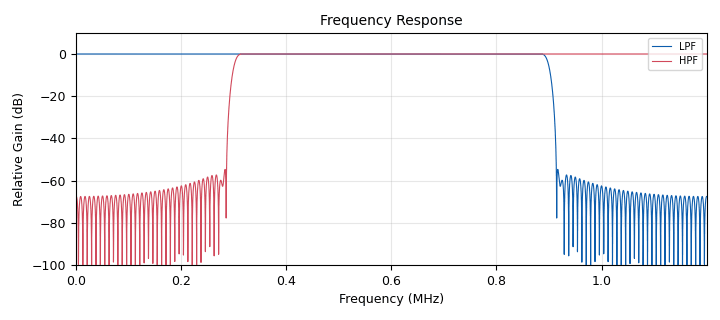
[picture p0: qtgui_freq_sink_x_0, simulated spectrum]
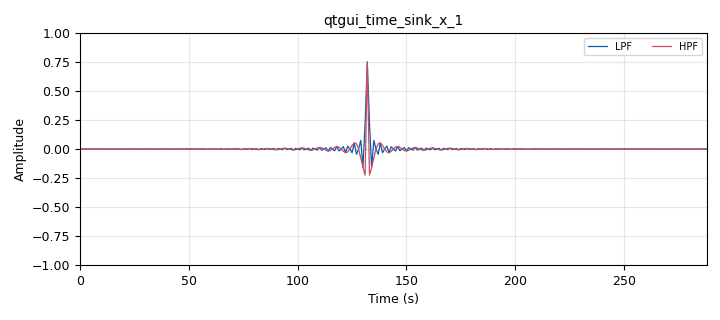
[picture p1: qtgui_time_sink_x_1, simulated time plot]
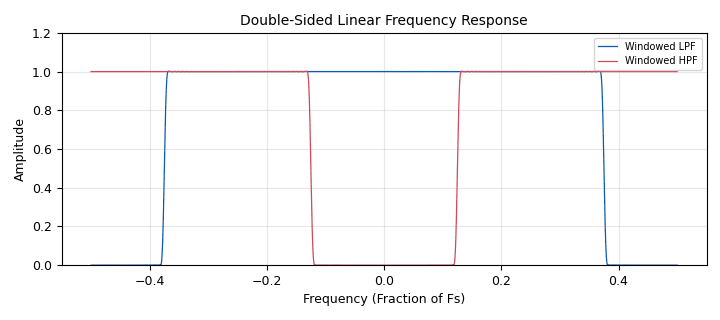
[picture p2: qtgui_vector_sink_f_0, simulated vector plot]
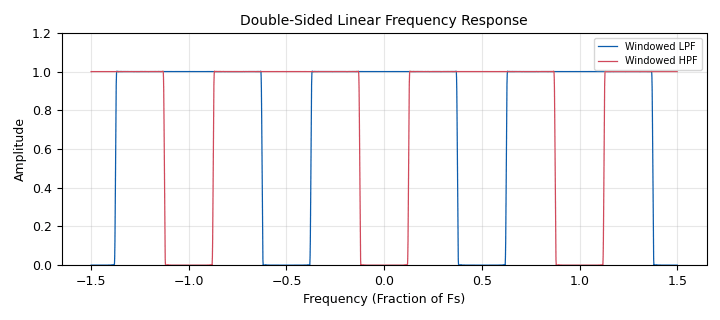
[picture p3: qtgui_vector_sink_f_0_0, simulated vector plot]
options:
  parameters:
    author: Gary Schafer
    generate_options: qt_gui
    id: filter_impulse_response_highpass2
    output_language: python
    title: Highpass using Spectrum Reversal
  states: {}

blocks:
- name: M
  id: variable
  parameters:
    comment: |-
      Used to create symmetric
      counter around 0.
      ----------------------------------
      Value: int((filt_length-1)/2)
    value: int((filt_length-1)/2)
  states: {}
- name: N
  id: variable
  parameters:
    value: 2**14
  states: {}
- name: cutoff
  id: variable
  parameters:
    comment: |-
      Cutoff frequency
      of highpass filter
    value: 300e3
  states: {}
- name: filt_length
  id: variable
  parameters:
    comment: |-
      Number of taps to
      use creating the filter.
      This corresponds to
      a harris approximation
      calculation using a 
      transition width of
      20 kHz with a 2.4 MHz
      sample rate and Hamming
      window.
    value: '289'
  states: {}
- name: freq_shift
  id: variable
  parameters:
    comment: |-
      Frequency shift by
      Nyquist frequency
      --------------------------
      (-1)**np.abs(n)
    value: (-1)**np.abs(n)
  states: {}
- name: gain
  id: variable
  parameters:
    comment: Calculate the gain.
    value: np.sum(lpf_win)
  states: {}
- name: grc_hpf
  id: variable_high_pass_filter_taps
  parameters:
    cutoff_freq: cutoff
    gain: '1.0'
    samp_rate: samp_rate
    width: 20e3
    win: window.WIN_HAMMING
  states: {}
- name: high_freq
  id: variable
  parameters:
    comment: |-
      Frequency of lowpass
      filter before performing
      spectrum reversal
    value: (samp_rate/2)-cutoff
  states: {}
- name: hpf
  id: variable
  parameters:
    comment: |-
      Normalize the gain
      of the filter.
    value: hpf_win/gain
  states: {}
- name: hpf_win
  id: variable
  parameters:
    comment: |-
      Create HPF by frequency
      shifting the LPF.
    value: np.multiply(freq_shift,lpf_win)
  states: {}
- name: lpf_sinc
  id: variable
  parameters:
    comment: |-
      Create a lowpass filter at a
      frequency that is the spectral
      reverse of the desired
      highpass filter.
    value: 2*high_freq*np.sinc(2*n*high_freq/samp_rate)/samp_rate
  states: {}
- name: lpf_win
  id: variable
  parameters:
    comment: Windowed LPF
    value: np.multiply(lpf_sinc,w)
  states: {}
- name: n
  id: variable
  parameters:
    comment: |-
      Counter used to
      create sinc curves
    value: np.arange(-M,M+1,1)
  states: {}
- name: samp_rate
  id: variable
  parameters:
    value: 2.4e6
  states: {}
- name: w
  id: variable
  parameters:
    comment: Window curve
    value: window.hamming(filt_length)
  states: {}
- name: blocks_complex_to_mag_0_0
  id: blocks_complex_to_mag
  parameters:
    vlen: N
  states: {}
- name: blocks_complex_to_mag_0_0_0
  id: blocks_complex_to_mag
  parameters:
    vlen: N
  states: {}
- name: blocks_complex_to_mag_0_0_0_0
  id: blocks_complex_to_mag
  parameters:
    vlen: N*3
  states: {}
- name: blocks_complex_to_mag_0_1
  id: blocks_complex_to_mag
  parameters:
    vlen: N*3
  states: {}
- name: blocks_null_source_0
  id: blocks_null_source
  parameters:
    type: float
  states: {}
- name: blocks_null_source_0_0
  id: blocks_null_source
  parameters:
    type: float
  states: {}
- name: blocks_stream_mux_0
  id: blocks_stream_mux
  parameters:
    lengths: (1, 2)
    type: float
  states: {}
- name: blocks_stream_mux_0_0
  id: blocks_stream_mux
  parameters:
    lengths: (1, 2)
    type: float
  states: {}
- name: blocks_stream_to_vector_0_0
  id: blocks_stream_to_vector
  parameters:
    num_items: N
    type: float
  states: {}
- name: blocks_stream_to_vector_0_0_0
  id: blocks_stream_to_vector
  parameters:
    num_items: N
    type: float
  states: {}
- name: blocks_stream_to_vector_0_0_0_0
  id: blocks_stream_to_vector
  parameters:
    num_items: N*3
    type: float
  states: {}
- name: blocks_stream_to_vector_0_1
  id: blocks_stream_to_vector
  parameters:
    num_items: N*3
    type: float
  states: {}
- name: blocks_throttle_0
  id: blocks_throttle
  parameters:
    samples_per_second: samp_rate
    type: float
  states: {}
- name: blocks_vector_source_x_0
  id: blocks_vector_source_x
  parameters:
    comment: Impulse generator
    repeat: 'True'
    type: float
    vector: '[0,]*int(N/2-1)+[N,]+[0,]*int(N/2)'
  states: {}
- name: blocks_vector_source_x_0_0
  id: blocks_vector_source_x
  parameters:
    comment: Homemade HPF
    repeat: 'True'
    type: float
    vector: lpf_win
  states: {}
- name: blocks_vector_source_x_0_0_0
  id: blocks_vector_source_x
  parameters:
    comment: GRC HPF
    repeat: 'True'
    type: float
    vector: hpf_win
  states: {}
- name: blocks_vector_source_x_0_1
  id: blocks_vector_source_x
  parameters:
    comment: Impulse generator
    repeat: 'True'
    type: float
    vector: '[0,]*int(N/2-1)+[N,]+[0,]*int(N/2)'
  states: {}
- name: blocks_vector_source_x_0_1_0
  id: blocks_vector_source_x
  parameters:
    comment: Impulse generator
    repeat: 'True'
    type: float
    vector: '[0,]*int(N/2-1)+[N,]+[0,]*int(N/2)'
  states: {}
- name: fft_filter_xxx_0_0
  id: fft_filter_xxx
  parameters:
    decim: '1'
    taps: hpf
    type: fff
  states: {}
- name: fft_filter_xxx_0_0_0_0
  id: fft_filter_xxx
  parameters:
    decim: '1'
    taps: lpf_win
    type: fff
  states: {}
- name: fft_filter_xxx_0_0_0_0_0
  id: fft_filter_xxx
  parameters:
    decim: '1'
    taps: hpf_win
    type: fff
  states: {}
- name: fft_filter_xxx_0_0_0_0_0_0
  id: fft_filter_xxx
  parameters:
    decim: '1'
    taps: hpf_win
    type: fff
  states: {}
- name: fft_filter_xxx_0_0_1
  id: fft_filter_xxx
  parameters:
    decim: '1'
    taps: lpf_win
    type: fff
  states: {}
- name: fft_filter_xxx_0_0_1_0_0
  id: fft_filter_xxx
  parameters:
    decim: '1'
    taps: lpf_win
    type: fff
  states: {}
- name: fft_vxx_0_0
  id: fft_vxx
  parameters:
    fft_size: N
    forward: 'True'
    shift: 'True'
    type: float
    window: '[1/N,]*N'
  states: {}
- name: fft_vxx_0_0_0
  id: fft_vxx
  parameters:
    fft_size: N
    forward: 'True'
    shift: 'True'
    type: float
    window: '[1/N,]*N'
  states: {}
- name: fft_vxx_0_0_0_0
  id: fft_vxx
  parameters:
    fft_size: N*3
    forward: 'True'
    shift: 'True'
    type: float
    window: '[1/N,]*(N*3)'
  states: {}
- name: fft_vxx_0_1
  id: fft_vxx
  parameters:
    fft_size: N*3
    forward: 'True'
    shift: 'True'
    type: float
    window: '[1/N,]*(N*3)'
  states: {}
- name: import_0
  id: import
  parameters:
    imports: import numpy as np
  states: {}
- name: myTabs
  id: qtgui_tab_widget
  parameters:
    gui_hint: 0,0,20,20
    label0: Linear Spectra
    label1: Repeated Linear Spectra
    label2: Impulse Response
    label3: Log Spectra
    num_tabs: '4'
  states: {}
- name: note_0
  id: note
  parameters:
    note: Linear Spectra
  states: {}
- name: note_1
  id: note
  parameters:
    note: Repeated Linear Spectra
  states: {}
- name: note_2
  id: note
  parameters:
    note: Impulse Response
  states: {}
- name: note_3
  id: note
  parameters:
    note: Log Spectra
  states: {}
- name: note_4
  id: note
  parameters:
    comment: |-
      This process creates a lowpass filter that
      is offset from the Nyquist frequency by
      the desired cutoff frequency for the
      highpass filter.
      The lowpass filter is then shifted by half
      the sample rate to create the highpass
      filter. THIS IS SPECTRAL REVERSAL.
      1) Calculate the number of taps
      2) Calculate the shifted cutoff frequency
      based on the sample rate minus the
      desired HPF cutoff frequency.
      3) Calculate the LPF sinc curve
      4) Window the LPF sinc curve
      5) Normalize the gain of the windowed LPF.
      6) Shift the LPF by the Nyquist frequency
      by changing the sign of every other tap.
      This creates the final HPF by using spectral
      reversal.
    note: Process to Create HPF
  states: {}
- name: qtgui_freq_sink_x_0
  id: qtgui_freq_sink_x
  parameters:
    bw: samp_rate
    color1: '"black"'
    fc: '0'
    fftsize: N
    freqhalf: 'False'
    grid: 'True'
    gui_hint: myTabs@3
    label1: LPF
    label2: HPF
    name: Frequency Response
    nconnections: '2'
    type: float
    ymin: '-100'
  states: {}
- name: qtgui_time_sink_x_1
  id: qtgui_time_sink_x
  parameters:
    gui_hint: myTabs@2
    label1: LPF
    label2: HPF
    nconnections: '2'
    size: filt_length
    srate: '1'
    type: float
  states: {}
- name: qtgui_vector_sink_f_0
  id: qtgui_vector_sink_f
  parameters:
    gui_hint: myTabs@0
    label1: Windowed LPF
    label2: Windowed HPF
    name: '"Double-Sided Linear Frequency Response"'
    nconnections: '2'
    vlen: N
    x_axis_label: '"Frequency (Fraction of Fs)"'
    x_start: '-0.5'
    x_step: 1/N
    y_axis_label: '"Amplitude"'
    ymax: '1.2'
    ymin: '0'
  states: {}
- name: qtgui_vector_sink_f_0_0
  id: qtgui_vector_sink_f
  parameters:
    gui_hint: myTabs@1
    label1: Windowed LPF
    label2: Windowed HPF
    name: '"Double-Sided Linear Frequency Response"'
    nconnections: '2'
    vlen: N*3
    x_axis_label: '"Frequency (Fraction of Fs)"'
    x_start: '-1.5'
    x_step: 1/N
    y_axis_label: '"Amplitude"'
    ymax: '1.2'
    ymin: '0'
  states: {}

connections:
- [blocks_complex_to_mag_0_0, '0', qtgui_vector_sink_f_0, '0']
- [blocks_complex_to_mag_0_0_0, '0', qtgui_vector_sink_f_0, '1']
- [blocks_complex_to_mag_0_0_0_0, '0', qtgui_vector_sink_f_0_0, '1']
- [blocks_complex_to_mag_0_1, '0', qtgui_vector_sink_f_0_0, '0']
- [blocks_null_source_0, '0', blocks_stream_mux_0, '1']
- [blocks_null_source_0_0, '0', blocks_stream_mux_0_0, '1']
- [blocks_stream_mux_0, '0', blocks_stream_to_vector_0_1, '0']
- [blocks_stream_mux_0_0, '0', blocks_stream_to_vector_0_0_0_0, '0']
- [blocks_stream_to_vector_0_0, '0', fft_vxx_0_0, '0']
- [blocks_stream_to_vector_0_0_0, '0', fft_vxx_0_0_0, '0']
- [blocks_stream_to_vector_0_0_0_0, '0', fft_vxx_0_0_0_0, '0']
- [blocks_stream_to_vector_0_1, '0', fft_vxx_0_1, '0']
- [blocks_throttle_0, '0', fft_filter_xxx_0_0, '0']
- [blocks_throttle_0, '0', fft_filter_xxx_0_0_1, '0']
- [blocks_vector_source_x_0, '0', blocks_throttle_0, '0']
- [blocks_vector_source_x_0_0, '0', qtgui_time_sink_x_1, '0']
- [blocks_vector_source_x_0_0_0, '0', qtgui_time_sink_x_1, '1']
- [blocks_vector_source_x_0_1, '0', fft_filter_xxx_0_0_0_0, '0']
- [blocks_vector_source_x_0_1, '0', fft_filter_xxx_0_0_0_0_0, '0']
- [blocks_vector_source_x_0_1_0, '0', fft_filter_xxx_0_0_0_0_0_0, '0']
- [blocks_vector_source_x_0_1_0, '0', fft_filter_xxx_0_0_1_0_0, '0']
- [fft_filter_xxx_0_0, '0', qtgui_freq_sink_x_0, '1']
- [fft_filter_xxx_0_0_0_0, '0', blocks_stream_to_vector_0_0, '0']
- [fft_filter_xxx_0_0_0_0_0, '0', blocks_stream_to_vector_0_0_0, '0']
- [fft_filter_xxx_0_0_0_0_0_0, '0', blocks_stream_mux_0_0, '0']
- [fft_filter_xxx_0_0_1, '0', qtgui_freq_sink_x_0, '0']
- [fft_filter_xxx_0_0_1_0_0, '0', blocks_stream_mux_0, '0']
- [fft_vxx_0_0, '0', blocks_complex_to_mag_0_0, '0']
- [fft_vxx_0_0_0, '0', blocks_complex_to_mag_0_0_0, '0']
- [fft_vxx_0_0_0_0, '0', blocks_complex_to_mag_0_0_0_0, '0']
- [fft_vxx_0_1, '0', blocks_complex_to_mag_0_1, '0']

metadata:
  file_format: 1
  grc_version: 3.10.9.2
